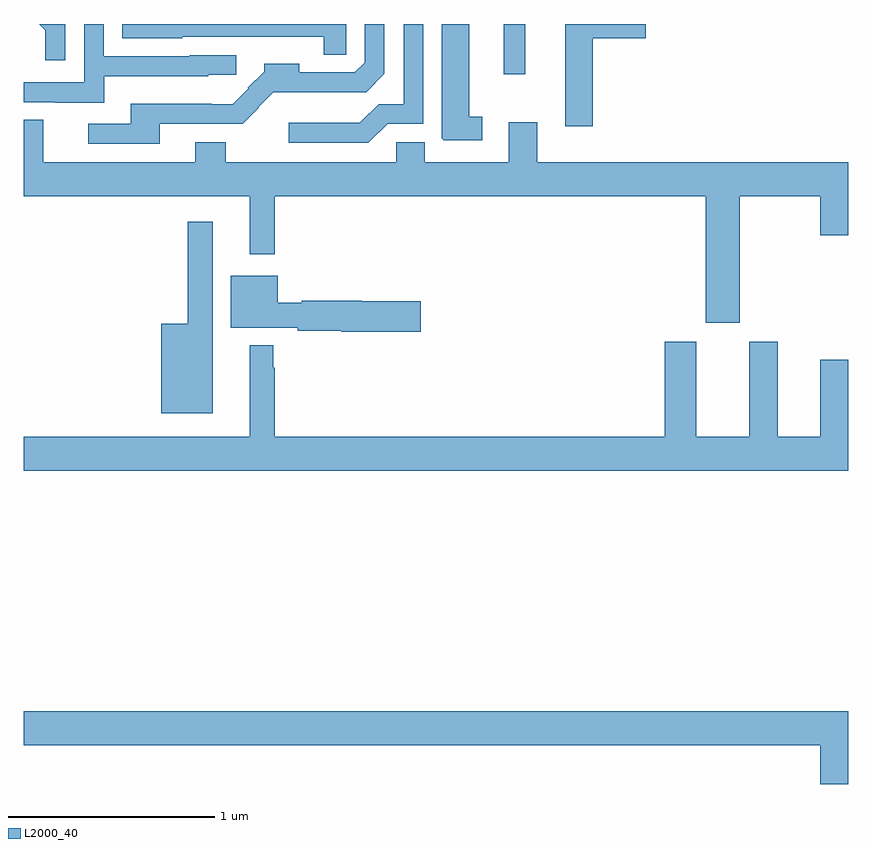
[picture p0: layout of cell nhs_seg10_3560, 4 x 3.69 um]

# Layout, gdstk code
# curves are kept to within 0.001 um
import gdstk
lib = gdstk.Library(unit=1e-6, precision=1e-09)
def R(c, l, rs):  # rectangles x0, y0, x1, y1
    for r in rs: c.add(gdstk.rectangle(r[:2], r[2:], *l))
def P(c, l, *ps):  # polygons
    for p in ps: c.add(gdstk.Polygon(p, *l))
L2000_40 = (2000, 40)

nhs_seg10_3560 = lib.new_cell('nhs_seg10_3560')
R(nhs_seg10_3560, L2000_40, [(307.328,1286.256,307.432,1286.5)])
P(nhs_seg10_3560, L2000_40, [(305.202,1286.5),(305.074,1286.5),(305.105,1286.469),(305.105,1286.325),(305.202,1286.325)],
  [(307.225,1286.051),(307.162,1286.051),(307.162,1286.5),(307.028,1286.5),(307.028,1285.945),(307.038,1285.935),(307.225,1285.935)],
  [(307.76,1286.432),(308.017,1286.432),(308.017,1286.5),(307.628,1286.5),(307.628,1286.004),(307.76,1286.004)],
  [(306.765,1286.016),(306.939,1286.016),(306.939,1286.5),(306.843,1286.5),(306.843,1286.111),(306.722,1286.111),(306.631,1286.02),(306.285,1286.02),(306.285,1285.923),(306.672,1285.923)],
  [(306.564,1286.5),(305.478,1286.5),(305.478,1286.432),(305.769,1286.432),(305.769,1286.439),(306.201,1286.439),(306.201,1286.438),(306.456,1286.438),(306.456,1286.35),(306.564,1286.35)],
  [(305.389,1286.246),(305.895,1286.246),(305.895,1286.253),(306.03,1286.253),(306.03,1286.349),(305.805,1286.349),(305.805,1286.343),(305.388,1286.343),(305.388,1286.5),(305.292,1286.5),(305.292,1286.217),(305,1286.217),(305,1286.121),(305.153,1286.121),(305.153,1286.117),(305.389,1286.117)],
  [(305.659,1286.016),(306.063,1286.016),(306.139,1286.093),(306.137,1286.095),(306.211,1286.169),(306.545,1286.168),(306.545,1286.17),(306.661,1286.17),(306.75,1286.259),(306.75,1286.5),(306.654,1286.5),(306.654,1286.313),(306.606,1286.265),(306.337,1286.265),(306.337,1286.308),(306.166,1286.308),(306.166,1286.269),(306.087,1286.19),(306.09,1286.187),(306.014,1286.111),(305.912,1286.111),(305.912,1286.113),(305.519,1286.113),(305.519,1286.016),(305.313,1286.016),(305.313,1285.92),(305.659,1285.92)],
  [(308.473,1285.664),(308.864,1285.664),(308.864,1285.476),(309,1285.476),(309,1285.828),(307.492,1285.828),(307.492,1286.023),(307.352,1286.023),(307.352,1285.828),(306.946,1285.828),(306.946,1285.926),(306.807,1285.926),(306.807,1285.828),(305.979,1285.828),(305.979,1285.927),(305.831,1285.927),(305.831,1285.828),(305.095,1285.828),(305.095,1286.036),(305,1286.036),(305,1285.664),(306.095,1285.664),(306.095,1285.383),(306.217,1285.383),(306.217,1285.664),(308.309,1285.664),(308.309,1285.05),(308.473,1285.05)],
  [(305.917,1285.54),(305.796,1285.54),(305.796,1285.045),(305.666,1285.045),(305.666,1284.611),(305.917,1284.611)],
  [(306.925,1285.154),(306.64,1285.154),(306.64,1285.156),(306.348,1285.156),(306.348,1285.148),(306.232,1285.148),(306.232,1285.279),(306.005,1285.279),(306.005,1285.025),(306.328,1285.025),(306.328,1285.012),(306.54,1285.012),(306.54,1285.007),(306.925,1285.007)],
  [(309,1284.871),(308.864,1284.871),(308.864,1284.496),(308.659,1284.496),(308.659,1284.958),(308.519,1284.958),(308.519,1284.496),(308.263,1284.496),(308.263,1284.958),(308.111,1284.958),(308.111,1284.496),(306.217,1284.496),(306.217,1284.833),(306.21,1284.833),(306.21,1284.94),(306.095,1284.94),(306.095,1284.496),(305,1284.496),(305,1284.332),(309,1284.332)],
  [(309,1283.164),(305,1283.164),(305,1283),(308.864,1283),(308.864,1282.812),(309,1282.812)])

lib.write_gds('nhs_seg10_3560.gds')
